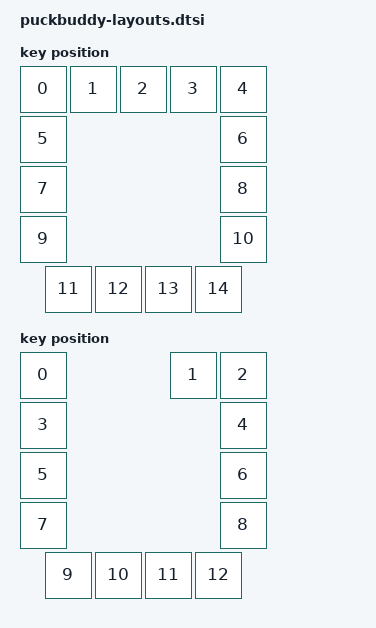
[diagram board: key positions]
/*
 * Copyright (c) 2024 The ZMK Contributors
 *
 * SPDX-License-Identifier: MIT
 */

#include <physical_layouts.dtsi>

/ {
    chosen {
        zmk,physical-layout = &default_layout;
    };

    default_layout: default_layout {
        compatible = "zmk,physical-layout";
        display-name = "Default";

        transform = <&default_transform>;

        keys  //                     w   h    x    y     rot    rx    ry
            = <&key_physical_attrs 100 100    0    0       0     0     0>
            , <&key_physical_attrs 100 100  100    0       0     0     0>
            , <&key_physical_attrs 100 100  200    0       0     0     0>
            , <&key_physical_attrs 100 100  300    0       0     0     0>
            , <&key_physical_attrs 100 100  400    0       0     0     0>
            , <&key_physical_attrs 100 100    0  100       0     0     0>
            , <&key_physical_attrs 100 100  400  100       0     0     0>
            , <&key_physical_attrs 100 100    0  200       0     0     0>
            , <&key_physical_attrs 100 100  400  200       0     0     0>
            , <&key_physical_attrs 100 100    0  300       0     0     0>
            , <&key_physical_attrs 100 100  400  300       0     0     0>
            , <&key_physical_attrs 100 100   50  400       0     0     0>
            , <&key_physical_attrs 100 100  150  400       0     0     0>
            , <&key_physical_attrs 100 100  250  400       0     0     0>
            , <&key_physical_attrs 100 100  350  400       0     0     0>
            ;
    };

    oled_layout: oled_layout {
        compatible = "zmk,physical-layout";
        display-name = "OLED";

        transform = <&oled_transform>;

        keys  //                     w   h    x    y     rot    rx    ry
            = <&key_physical_attrs 100 100    0    0       0     0     0>
            , <&key_physical_attrs 100 100  300    0       0     0     0>
            , <&key_physical_attrs 100 100  400    0       0     0     0>
            , <&key_physical_attrs 100 100    0  100       0     0     0>
            , <&key_physical_attrs 100 100  400  100       0     0     0>
            , <&key_physical_attrs 100 100    0  200       0     0     0>
            , <&key_physical_attrs 100 100  400  200       0     0     0>
            , <&key_physical_attrs 100 100    0  300       0     0     0>
            , <&key_physical_attrs 100 100  400  300       0     0     0>
            , <&key_physical_attrs 100 100   50  400       0     0     0>
            , <&key_physical_attrs 100 100  150  400       0     0     0>
            , <&key_physical_attrs 100 100  250  400       0     0     0>
            , <&key_physical_attrs 100 100  350  400       0     0     0>
            ;
    };
};

